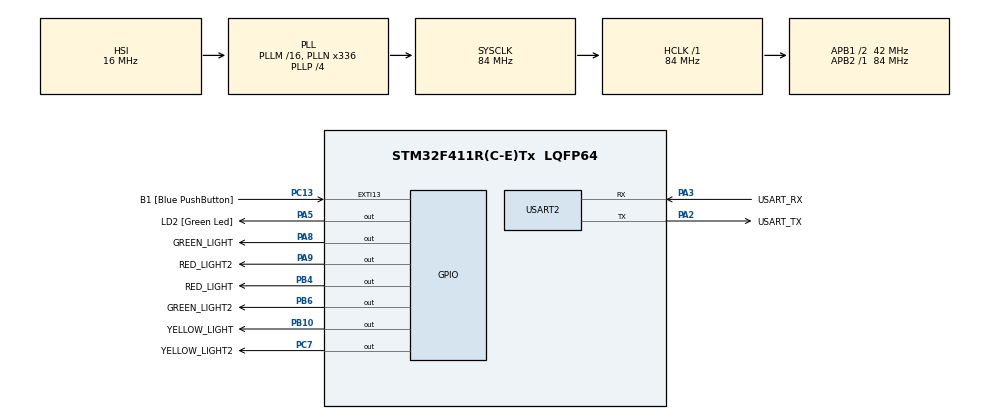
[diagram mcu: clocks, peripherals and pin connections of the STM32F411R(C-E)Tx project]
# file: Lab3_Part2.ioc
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FREERTOS.BinarySemaphores01=BinarySem,Dynamic,NULL
FREERTOS.Tasks01=light1,24,128,StartLight1,Default,NULL,Dynamic,NULL,NULL;light2,24,128,StartLight2,Default,NULL,Dynamic,NULL,NULL
Mcu.Family=STM32F4
Mcu.Name=STM32F411R(C-E)Tx
Mcu.Package=LQFP64
NVIC.PriorityGroup=NVIC_PRIORITYGROUP_4
NVIC.TIM5_IRQn=true\:15\:0\:false\:false\:true\:false\:false\:true\:true
NVIC.TimeBase=TIM5_IRQn
NVIC.TimeBaseIP=TIM5
PA13.GPIO_Label=TMS
PA13.Mode=Serial_Wire
PA13.Signal=SYS_JTMS-SWDIO
PA14.GPIO_Label=TCK
PA14.Mode=Serial_Wire
PA14.Signal=SYS_JTCK-SWCLK
PA2.GPIO_Label=USART_TX
PA2.Mode=Asynchronous
PA2.Signal=USART2_TX
PA3.GPIO_Label=USART_RX
PA3.Mode=Asynchronous
PA3.Signal=USART2_RX
PA5.GPIO_Label=LD2 [Green Led]
PA5.Signal=GPIO_Output
PA8.GPIO_Label=GREEN_LIGHT
PA8.Signal=GPIO_Output
PA9.GPIO_Label=RED_LIGHT2
PA9.Signal=GPIO_Output
PB10.GPIO_Label=YELLOW_LIGHT
PB10.Signal=GPIO_Output
PB3.GPIO_Label=SWO
PB3.Signal=SYS_JTDO-SWO
PB4.GPIO_Label=RED_LIGHT
PB4.Signal=GPIO_Output
PB6.GPIO_Label=GREEN_LIGHT2
PB6.Signal=GPIO_Output
PC13-ANTI_TAMP.GPIO_Label=B1 [Blue PushButton]
PC13-ANTI_TAMP.GPIO_ModeDefaultEXTI=GPIO_MODE_IT_FALLING
PC13-ANTI_TAMP.Signal=GPXTI13
PC14-OSC32_IN.Mode=LSE-External-Oscillator
PC14-OSC32_IN.Signal=RCC_OSC32_IN
PC15-OSC32_OUT.Mode=LSE-External-Oscillator
PC15-OSC32_OUT.Signal=RCC_OSC32_OUT
PC7.GPIO_Label=YELLOW_LIGHT2
PC7.Signal=GPIO_Output
PH0\ -\ OSC_IN.Mode=HSE-External-Clock-Source
PH0\ -\ OSC_IN.Signal=RCC_OSC_IN
PH1\ -\ OSC_OUT.Mode=HSE-External-Clock-Source
PH1\ -\ OSC_OUT.Signal=RCC_OSC_OUT
ProjectManager.HeapSize=0x200
ProjectManager.StackSize=0x400
ProjectManager.TargetToolchain=STM32CubeIDE
RCC.48MHZClocksFreq_Value=84000000
RCC.AHBFreq_Value=84000000
RCC.APB1CLKDivider=RCC_HCLK_DIV2
RCC.APB1Freq_Value=42000000
RCC.APB1TimFreq_Value=84000000
RCC.APB2Freq_Value=84000000
RCC.APB2TimFreq_Value=84000000
RCC.CortexFreq_Value=84000000
RCC.FLatency-AdvancedSettings=FLASH_LATENCY_2
RCC.HCLKFreq_Value=84000000
RCC.HSE_VALUE=8000000
RCC.HSI_VALUE=16000000
RCC.PLLN=336
RCC.PLLP=RCC_PLLP_DIV4
RCC.SYSCLKFreq_VALUE=84000000
RCC.SYSCLKSource=RCC_SYSCLKSOURCE_PLLCLK
RCC.VCOOutputFreq_Value=336000000
USART2.VirtualMode=VM_ASYNC
VP_FREERTOS_VS_CMSIS_V2.Mode=CMSIS_V2
VP_SYS_VS_tim5.Mode=TIM5
board=NUCLEO-F411RE

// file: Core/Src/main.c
/* USER CODE BEGIN Header */
/**
  ******************************************************************************
  * @file           : main.c
  * @brief          : Main program body
  ******************************************************************************
  * @attention
  *
  * Copyright (c) 2023 STMicroelectronics.
  * All rights reserved.
  *
  * This software is licensed under terms that can be found in the LICENSE file
  * in the root directory of this software component.
  * If no LICENSE file comes with this software, it is provided AS-IS.
  *
  ******************************************************************************
  */
/* USER CODE END Header */
#include "main.h"
#include "cmsis_os.h"

UART_HandleTypeDef huart2;

/* Definitions for light1 */
osThreadId_t light1Handle;
const osThreadAttr_t light1_attributes = {
  .name = "light1",
  .stack_size = 128 * 4,
  .priority = (osPriority_t) osPriorityNormal,
};
/* Definitions for light2 */
osThreadId_t light2Handle;
const osThreadAttr_t light2_attributes = {
  .name = "light2",
  .stack_size = 128 * 4,
  .priority = (osPriority_t) osPriorityNormal,
};
/* Definitions for BinarySem */
osSemaphoreId_t BinarySemHandle;
const osSemaphoreAttr_t BinarySem_attributes = {
  .name = "BinarySem"
};

void SystemClock_Config(void);
static void MX_GPIO_Init(void);
static void MX_USART2_UART_Init(void);
void StartLight1(void *argument);
void StartLight2(void *argument);

int main(void)
{

  /* MCU Configuration--------------------------------------------------------*/

  /* Reset of all peripherals, Initializes the Flash interface and the Systick. */
  HAL_Init();

  /* Configure the system clock */
  SystemClock_Config();

  /* Initialize all configured peripherals */
  MX_GPIO_Init();
  MX_USART2_UART_Init();

  /* Init scheduler */
  osKernelInitialize();

  /* Create the semaphores(s) */
  /* creation of BinarySem */
  BinarySemHandle = osSemaphoreNew(1, 1, &BinarySem_attributes);

  /* Create the thread(s) */
  /* creation of light1 */
  light1Handle = osThreadNew(StartLight1, NULL, &light1_attributes);

  /* creation of light2 */
  light2Handle = osThreadNew(StartLight2, NULL, &light2_attributes);

  /* Start scheduler */
  osKernelStart();
  /* We should never get here as control is now taken by the scheduler */
  /* Infinite loop */
  while (1)
  {

  }
}

void SystemClock_Config(void)
{
  RCC_OscInitTypeDef RCC_OscInitStruct = {0};
  RCC_ClkInitTypeDef RCC_ClkInitStruct = {0};

  /** Configure the main internal regulator output voltage
  */
  __HAL_RCC_PWR_CLK_ENABLE();
  __HAL_PWR_VOLTAGESCALING_CONFIG(PWR_REGULATOR_VOLTAGE_SCALE1);

  /** Initializes the RCC Oscillators according to the specified parameters
  * in the RCC_OscInitTypeDef structure.
  */
  RCC_OscInitStruct.OscillatorType = RCC_OSCILLATORTYPE_HSI;
  RCC_OscInitStruct.HSIState = RCC_HSI_ON;
  RCC_OscInitStruct.HSICalibrationValue = RCC_HSICALIBRATION_DEFAULT;
  RCC_OscInitStruct.PLL.PLLState = RCC_PLL_ON;
  RCC_OscInitStruct.PLL.PLLSource = RCC_PLLSOURCE_HSI;
  RCC_OscInitStruct.PLL.PLLM = 16;
  RCC_OscInitStruct.PLL.PLLN = 336;
  RCC_OscInitStruct.PLL.PLLP = RCC_PLLP_DIV4;
  RCC_OscInitStruct.PLL.PLLQ = 4;
  if (HAL_RCC_OscConfig(&RCC_OscInitStruct) != HAL_OK)
  {
    Error_Handler();
  }

  /** Initializes the CPU, AHB and APB buses clocks
  */
  RCC_ClkInitStruct.ClockType = RCC_CLOCKTYPE_HCLK|RCC_CLOCKTYPE_SYSCLK
                              |RCC_CLOCKTYPE_PCLK1|RCC_CLOCKTYPE_PCLK2;
  RCC_ClkInitStruct.SYSCLKSource = RCC_SYSCLKSOURCE_PLLCLK;
  RCC_ClkInitStruct.AHBCLKDivider = RCC_SYSCLK_DIV1;
  RCC_ClkInitStruct.APB1CLKDivider = RCC_HCLK_DIV2;
  RCC_ClkInitStruct.APB2CLKDivider = RCC_HCLK_DIV1;

  if (HAL_RCC_ClockConfig(&RCC_ClkInitStruct, FLASH_LATENCY_2) != HAL_OK)
  {
    Error_Handler();
  }
}

static void MX_USART2_UART_Init(void)
{

  huart2.Instance = USART2;
  huart2.Init.BaudRate = 115200;
  huart2.Init.WordLength = UART_WORDLENGTH_8B;
  huart2.Init.StopBits = UART_STOPBITS_1;
  huart2.Init.Parity = UART_PARITY_NONE;
  huart2.Init.Mode = UART_MODE_TX_RX;
  huart2.Init.HwFlowCtl = UART_HWCONTROL_NONE;
  huart2.Init.OverSampling = UART_OVERSAMPLING_16;
  if (HAL_UART_Init(&huart2) != HAL_OK)
  {
    Error_Handler();
  }

}

static void MX_GPIO_Init(void)
{
  GPIO_InitTypeDef GPIO_InitStruct = {0};

  /* GPIO Ports Clock Enable */
  __HAL_RCC_GPIOC_CLK_ENABLE();
  __HAL_RCC_GPIOH_CLK_ENABLE();
  __HAL_RCC_GPIOA_CLK_ENABLE();
  __HAL_RCC_GPIOB_CLK_ENABLE();

  /*Configure GPIO pin Output Level */
  HAL_GPIO_WritePin(GPIOA, LD2_Pin|GREEN_LIGHT_Pin|RED_LIGHT2_Pin, GPIO_PIN_RESET);

  /*Configure GPIO pin Output Level */
  HAL_GPIO_WritePin(GPIOB, YELLOW_LIGHT_Pin|RED_LIGHT_Pin|GREEN_LIGHT2_Pin, GPIO_PIN_RESET);

  /*Configure GPIO pin Output Level */
  HAL_GPIO_WritePin(YELLOW_LIGHT2_GPIO_Port, YELLOW_LIGHT2_Pin, GPIO_PIN_RESET);

  /*Configure GPIO pin : B1_Pin */
  GPIO_InitStruct.Pin = B1_Pin;
  GPIO_InitStruct.Mode = GPIO_MODE_IT_FALLING;
  GPIO_InitStruct.Pull = GPIO_NOPULL;
  HAL_GPIO_Init(B1_GPIO_Port, &GPIO_InitStruct);

  /*Configure GPIO pins : LD2_Pin GREEN_LIGHT_Pin RED_LIGHT2_Pin */
  GPIO_InitStruct.Pin = LD2_Pin|GREEN_LIGHT_Pin|RED_LIGHT2_Pin;
  GPIO_InitStruct.Mode = GPIO_MODE_OUTPUT_PP;
  GPIO_InitStruct.Pull = GPIO_NOPULL;
  GPIO_InitStruct.Speed = GPIO_SPEED_FREQ_LOW;
  HAL_GPIO_Init(GPIOA, &GPIO_InitStruct);

  /*Configure GPIO pins : YELLOW_LIGHT_Pin RED_LIGHT_Pin GREEN_LIGHT2_Pin */
  GPIO_InitStruct.Pin = YELLOW_LIGHT_Pin|RED_LIGHT_Pin|GREEN_LIGHT2_Pin;
  GPIO_InitStruct.Mode = GPIO_MODE_OUTPUT_PP;
  GPIO_InitStruct.Pull = GPIO_NOPULL;
  GPIO_InitStruct.Speed = GPIO_SPEED_FREQ_LOW;
  HAL_GPIO_Init(GPIOB, &GPIO_InitStruct);

  /*Configure GPIO pin : YELLOW_LIGHT2_Pin */
  GPIO_InitStruct.Pin = YELLOW_LIGHT2_Pin;
  GPIO_InitStruct.Mode = GPIO_MODE_OUTPUT_PP;
  GPIO_InitStruct.Pull = GPIO_NOPULL;
  GPIO_InitStruct.Speed = GPIO_SPEED_FREQ_LOW;
  HAL_GPIO_Init(YELLOW_LIGHT2_GPIO_Port, &GPIO_InitStruct);

}

void StartLight1(void *argument)
{
  /* USER CODE BEGIN 5 */
	HAL_GPIO_WritePin(GPIOA, RED_LIGHT2_Pin, GPIO_PIN_SET); // initially sets RED2 to be on
  /* Infinite loop */
  for(;;)
  {
	  osSemaphoreAcquire(BinarySemHandle, osWaitForever); 	// waits forever for semaphore to become available

	  HAL_GPIO_WritePin(GPIOA, RED_LIGHT_Pin, GPIO_PIN_RESET);		// RED1 turned off

	  HAL_GPIO_WritePin(GPIOA, GREEN_LIGHT_Pin, GPIO_PIN_SET);		// GREEN1 turned on
	  osDelay(4000);												// 4s delay
	  HAL_GPIO_WritePin(GPIOA, GREEN_LIGHT_Pin, GPIO_PIN_RESET);	// GREEN1 turned off

	  HAL_GPIO_WritePin(GPIOA, YELLOW_LIGHT_Pin, GPIO_PIN_SET);		// YELLOW1 turned on
	  osDelay(1500);												// 1.5s delay
	  HAL_GPIO_WritePin(GPIOA, YELLOW_LIGHT_Pin, GPIO_PIN_RESET);	// YELLOW1 turned off

	  HAL_GPIO_WritePin(GPIOA, RED_LIGHT_Pin, GPIO_PIN_SET);		// RED1 turned on
	  osDelay(1000);												// 7.5s delay to give other task time to complete

	  osSemaphoreRelease(BinarySemaHandle);		//releases semaphore for next task
  }
  /* USER CODE END 5 */
}

void StartLight2(void *argument)
{
  /* USER CODE BEGIN StartLight2 */
  /* Infinite loop */
  for(;;)
  {
	  osSemaphoreAcquire(BinarySemHandle, osWaitForever); 	// waits forever for semaphore to become available

	  HAL_GPIO_WritePin(GPIOA, RED_LIGHT2_Pin, GPIO_PIN_RESET);		// RED2 turned off

	  HAL_GPIO_WritePin(GPIOA, GREEN_LIGHT2_Pin, GPIO_PIN_SET);		// GREEN2 turned on
	  osDelay(4000);												// 4s delay
	  HAL_GPIO_WritePin(GPIOA, GREEN_LIGHT2_Pin, GPIO_PIN_RESET);	// GREEN2 turned off

	  HAL_GPIO_WritePin(GPIOA, YELLOW_LIGHT2_Pin, GPIO_PIN_SET);	// YELLOW2 turned on
	  osDelay(1500);												// 1.5s delay
	  HAL_GPIO_WritePin(GPIOA, YELLOW_LIGHT2_Pin, GPIO_PIN_RESET);	// YELLOW2 turned off

	  HAL_GPIO_WritePin(GPIOA, RED_LIGHT2_Pin, GPIO_PIN_SET);		// RED2 turned on
	  osDelay(1000);												// 7.5s delay to give other task time to complete

	  osSemaphoreRelease(BinarySemaHandle);		//releases semaphore for next task
  }
  /* USER CODE END StartLight2 */
}

void HAL_TIM_PeriodElapsedCallback(TIM_HandleTypeDef *htim)
{
  if (htim->Instance == TIM5) {
    HAL_IncTick();
  }
}

void Error_Handler(void)
{
  __disable_irq();
  while (1)
  {
  }
}
